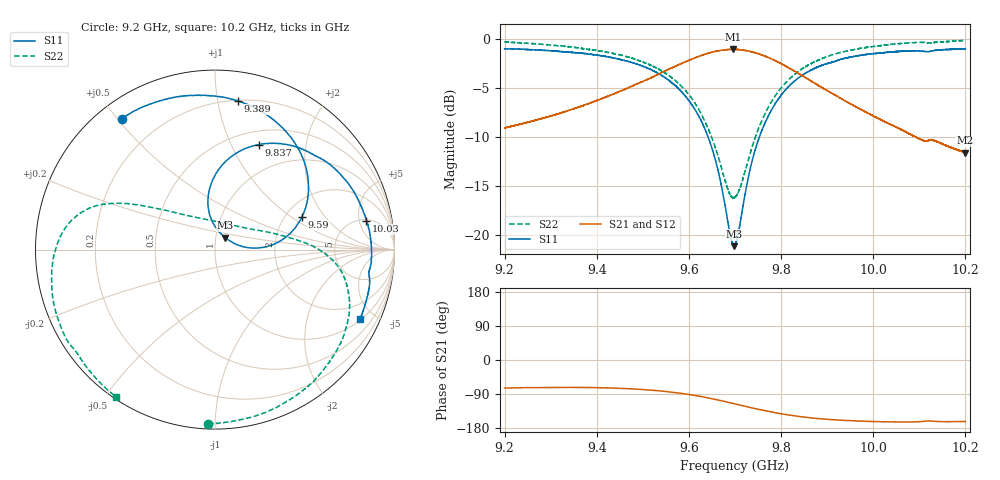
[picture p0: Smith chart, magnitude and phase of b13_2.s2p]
!Agilent Technologies,N5242A,MY51221714,A.09.90.19
!Agilent N5242A: A.09.90.19
!Date: Saturday, March 16, 2024 09:28:14
!Correction: S11(Full 2 Port(1,2))
!S21(Full 2 Port(1,2))
!S12(Full 2 Port(1,2))
!S22(Full 2 Port(1,2))
!S2P File: Measurements: S11, S21, S12, S22:
# Hz S  dB  R 50
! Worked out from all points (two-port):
!   16001 points, 9.2 GHz to 10.2 GHz, reference 50 ohm
!   highest |S21| = -1.00 dB at 9.696 GHz (marker M1); lowest = -11.6 dB at 10.2 GHz (marker M2)
!   |S21| within 3 dB of the highest: 9.514 GHz to 9.856 GHz (341.9 MHz wide, 3.53 % of centre); 9.856254 GHz to 9.85647 GHz (215.9 kHz wide, 0.00219 % of centre)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
!   lowest |S11| = -21.2 dB at 9.698 GHz (marker M3), VSWR 1.19, Z = 55.4 + j7.46 ohm
!   |S11| at or under -10 dB: 9.642 GHz to 9.753 GHz (111.2 MHz wide, 1.15 % of centre)
!   |S22| runs from -16.3 to -0.1 dB; largest |S21 - S12| = 0.012
!   S11 on the Smith chart (normalised r, x): 9.2 GHz: 0.07, +0.51; 9.389 GHz: 0.21, +1.14; 9.59 GHz: 2.45, +1.23; 9.837 GHz: 0.65, +1.28; 10.03 GHz: 5.25, +6.41; 10.2 GHz: 1.08, -4.16
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9.2e9  -0.97 125.4  -9.07 -74.0  -9.06 -74.6  -0.26 -92.2
9.27775e9  -1.10 107.9  -8.14 -72.6  -8.13 -73.1  -0.49 -70.7
9.366688e9  -1.42 87.0  -6.84 -72.5  -6.82 -73.1  -0.91 -47.1
9.389e9  -1.53 81.3  -6.45 -72.8  -6.44 -73.4  -1.05 -41.4
9.461125e9  -2.16 61.9  -5.09 -75.4  -5.09 -75.9  -1.72 -24.1
9.533375e9  -3.48 40.0  -3.57 -81.1  -3.56 -81.6  -3.02 -9.1
9.590312e9  -5.70 20.7  -2.34 -89.3  -2.33 -89.8  -5.12 1.6
9.647875e9  -10.83 3.2  -1.34 -101.6  -1.32 -102.2  -9.86 17.1
9.695688e9  -21.02 43.3  -1.00 -114.6  -1.00 -115.2  -16.19 74.3
9.69775e9  -21.18 49.9  -1.01 -115.2  -1.00 -115.8  -16.18 79.0
9.7e9  -21.04 56.5  -1.02 -115.9  -0.99 -116.5  -16.19 83.9
9.733938e9  -13.07 99.2  -1.24 -125.5  -1.22 -126.2  -11.53 132.4
9.756188e9  -9.57 95.6  -1.57 -131.5  -1.54 -132.1  -8.53 143.2
9.79975e9  -5.72 81.0  -2.46 -141.8  -2.48 -142.4  -4.99 152.9
9.837125e9  -3.96 67.4  -3.46 -148.7  -3.46 -149.2  -3.29 158.6
9.866688e9  -3.11 57.3  -4.31 -152.9  -4.29 -153.5  -2.44 163.1
9.950562e9  -1.81 31.9  -6.60 -160.2  -6.60 -160.8  -1.11 178.2
1.003262e10  -1.32 10.7  -8.61 -163.1  -8.60 -163.7  -0.53 -164.3
1.003338e10  -1.31 10.5  -8.62 -163.1  -8.62 -163.7  -0.53 -164.1
1.01055e10  -1.20 -6.3  -10.29 -162.3  -10.29 -162.9  -0.29 -147.7
1.019988e10  -0.97 -25.5  -11.61 -162.4  -11.58 -162.9  -0.11 -124.0
1.02e10  -0.97 -25.5  -11.59 -162.3  -11.60 -163.0  -0.10 -123.9
